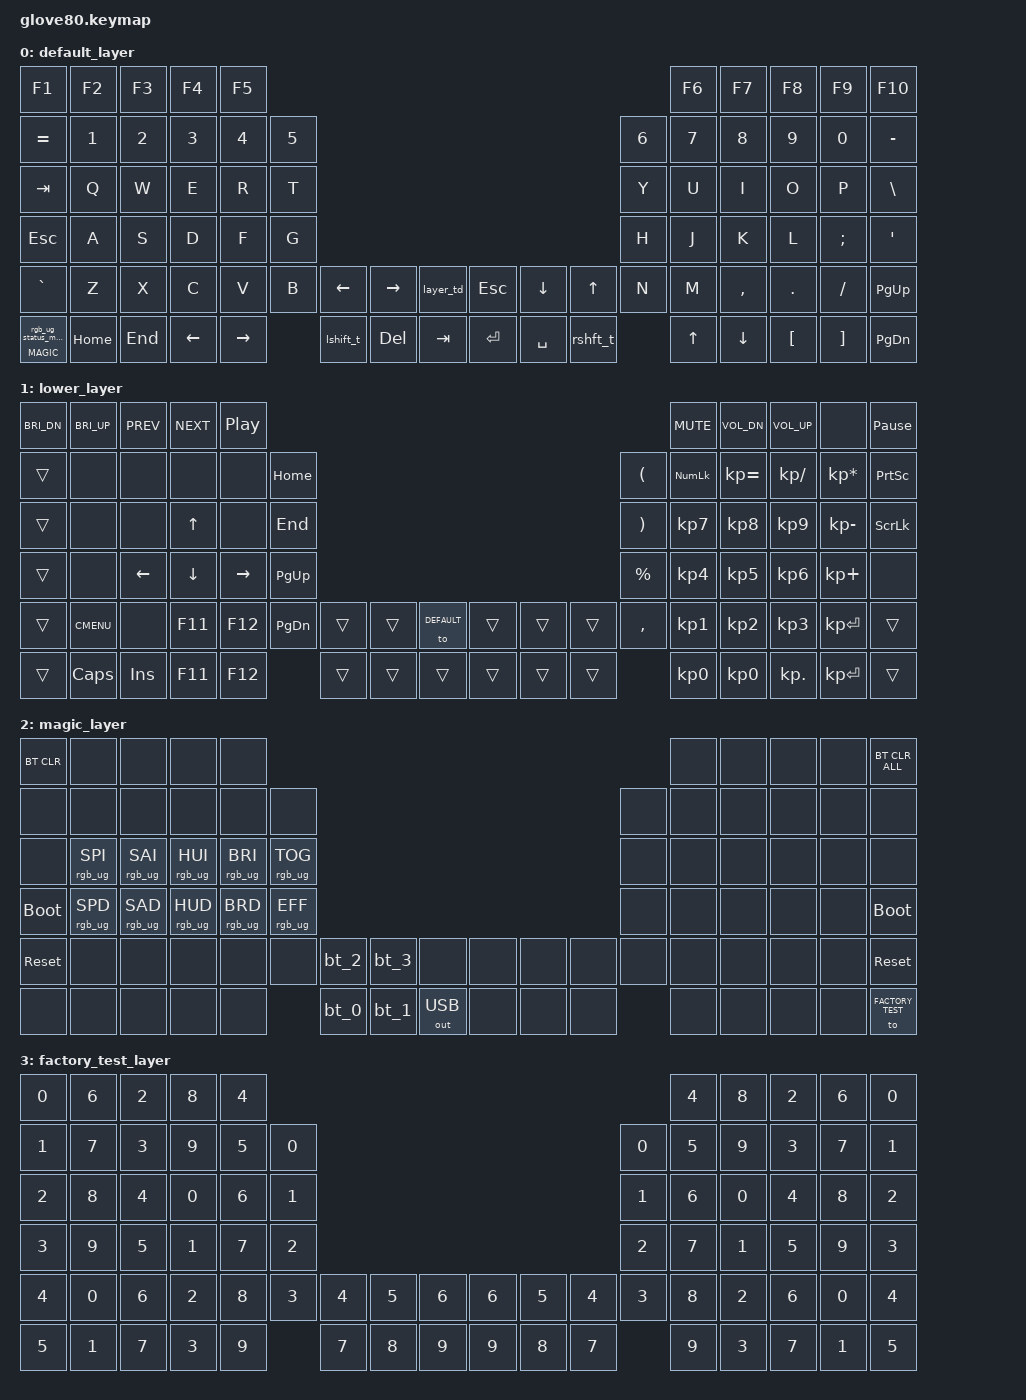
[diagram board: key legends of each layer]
/*
 * Copyright (c) 2020 The ZMK Contributors
 *
 * SPDX-License-Identifier: MIT
 */

 #define HOST_OS 2  // set to 2 for macOS/Windows-Alt-Codes, default is 0 (Windows)
#include "zmk-helpers/helper.h"
#include <behaviors.dtsi>
#include <dt-bindings/zmk/keys.h>
#include <dt-bindings/zmk/bt.h>
#include <dt-bindings/zmk/ext_power.h>
#include <dt-bindings/zmk/outputs.h>
#include <dt-bindings/zmk/rgb.h>
#include "zmk-helpers/key-labels/glove80.h"

#define HYPER LC(LS(LG(LALT)))

// layers
#define DEFAULT 0
#define LOWER 1
#define MAGIC 2
#define FACTORY_TEST 3
/*                               GLOVE80 KEY MATRIX / LAYOUT MAPPING
 ╭────────────────────╮       ╭────────────────────╮ ╭────────────────────╮       ╭────────────────────╮
 │  0   1   2   3   4 ╰───┬───╯  5   6   7   8   9 │ │ LC5 LC4 LC3 LC2 LC1╰───┬───╯ RC1 RC2 RC3 RC4 RC5│
 │ 10  11  12  13  14  15 │ 16  17  18  19  20  21 │ │ LN5 LN4 LN3 LN2 LN1 LN0│ RN0 RN1 RN2 RN3 RN4 RN5│
 │ 22  23  24  25  26  27 │ 28  29  30  31  32  33 │ │ LT5 LT4 LT3 LT2 LT1 LT0│ RT0 RT1 RT2 RT3 RT4 RT5│
 │ 34  35  36  37  38  39 │ 40  41  42  43  44  45 │ │ LM5 LM4 LM3 LM2 LM1 LM0│ RM0 RM1 RM2 RM3 RM4 RM5│
 │ 46  47  48  49  50  51 │ 58  59  60  61  62  63 │ │ LB5 LB4 LB3 LB2 LB1 LB0│ RB0 RB1 RB2 RB3 RB4 RB5│
 │ 64  65  66  67  68 ╭───┴───╮ 75  76  77  78  79 │ │ LF5 LF4 LF3 LF2 LF1╭───┴───╮ RF1 RF2 RF3 RF4 RF5│
 ╰───────────┬────────┴───┬───┴────────┬───────────╯ ╰───────────┬────────┴───┬───┴────────┬───────────╯
             │ 52  53  54 │ 55  56  57 │                         │ LH5 LH4 LH3│ RH3 RH4 RH5│
             │ 69  70  71 │ 72  73  74 │                         │ LH2 LH1 LH0│ RH0 RH1 RH2│
             ╰────────────┴────────────╯                         ╰────────────┴────────────╯
 */

#define THUMB_L LH5 
#define THUMB_R RH2

//ZMK_BEHAVIOR(hrm, hold_tap,
//    flavor = "balanced";
//    tapping-term-ms = <280>;
//    quick-tap-ms = <125>;
//    bindings = <&kp>, <&kp>;
//)
//
//ZMK_BEHAVIOR(ss_paren_l, tap_dance,
//    tapping-term-ms = <200>;
//    bindings = <&sk LSHFT>, <&LPAR>)
//
//ZMK_BEHAVIOR(ss_paren_r, tap_dance,
//    tapping-term-ms = <200>;
//    bindings = <&sk RSHFT>, <&LPAR>)
 {
    behaviors {
        // For the "layer" key, it'd nice to be able to use it as either a shift or a toggle.
        // Configure it as a tap dance, so the first tap (or hold) is a &mo and the second tap is a &to
        layer_td: tap_dance_0 {
            compatible = "zmk,behavior-tap-dance";
            label = "LAYER_TAP_DANCE";
            #binding-cells = <0>;
            tapping-term-ms = <200>;
            bindings = <&mo LOWER>, <&to LOWER>;
        };

        lshft_t: tap_dance_1 {
            compatible = "zmk,behavior-tap-dance";
            label = "LSHFT_TAP_DANCE";
            #binding-cells = <0>;
            tapping-term-ms = <200>;
            bindings = <&sk LSHFT>, <&kp LPAR>;
        };

        rshft_t: tap_dance_2 {
            compatible = "zmk,behavior-tap-dance";
            label = "RSHFT_TAP_DANCE";
            #binding-cells = <0>;
            tapping-term-ms = <200>;
            bindings = <&sk RSHFT>, <&kp RPAR>;
        };

        magic: magic_hold_tap {
            compatible = "zmk,behavior-hold-tap";
            label = "MAGIC_HOLD_TAP";
            #binding-cells = <2>;
            flavor = "tap-preferred";
            tapping-term-ms = <200>;
            bindings = <&mo>, <&rgb_ug_status_macro>;
        };
        ctrl_z: hold_tap_0 {
    compatible = "zmk,behavior-hold-tap";
    #binding-cells = <2>;
    flavor = "tap-preferred";
    tapping-term-ms = <200>;
    quick-tap-ms = <200>;
    //hold-while-undecided = true;
    //require-prior-idle-ms = <125>;
    bindings = <&kp Z>, <&sk LCTRL>;
};
        alt_x: hold_tap_1 {
    compatible = "zmk,behavior-hold-tap";
    #binding-cells = <2>;
    flavor = "tap-preferred";
    tapping-term-ms = <200>;
    quick-tap-ms = <200>;
    //hold-while-undecided = true;
    //require-prior-idle-ms = <125>;
    bindings = <&kp X>, <&sk LGUI>;
};
        ctrl_o: hold_tap_2 {
    compatible = "zmk,behavior-hold-tap";
    #binding-cells = <2>;
    flavor = "tap-preferred";
    tapping-term-ms = <200>;
    quick-tap-ms = <200>;
    //hold-while-undecided = true;
    //require-prior-idle-ms = <125>;
    bindings = <&kp O>, <&sk LCTRL>;
};
    };

    macros {
        rgb_ug_status_macro: rgb_ug_status_macro_0 {
            label = "RGB_UG_STATUS";
            compatible = "zmk,behavior-macro";
            #binding-cells = <0>;
            bindings
                = <&rgb_ug RGB_STATUS>;
        };

        bt_0: bt_profile_macro_0 {
            label = "BT_0";
            compatible = "zmk,behavior-macro";
            #binding-cells = <0>;
            bindings
                = <&out OUT_BLE>,
                  <&bt BT_SEL 0>;
        };

        bt_1: bt_profile_macro_1 {
            label = "BT_1";
            compatible = "zmk,behavior-macro";
            #binding-cells = <0>;
            bindings
                = <&out OUT_BLE>,
                  <&bt BT_SEL 1>;
        };

        bt_2: bt_profile_macro_2 {
            label = "BT_2";
            compatible = "zmk,behavior-macro";
            #binding-cells = <0>;
            bindings
                = <&out OUT_BLE>,
                  <&bt BT_SEL 2>;
        };

        bt_3: bt_profile_macro_3 {
            label = "BT_3";
            compatible = "zmk,behavior-macro";
            #binding-cells = <0>;
            bindings
                = <&out OUT_BLE>,
                  <&bt BT_SEL 3>;
        };
    };

    keymap {
        compatible = "zmk,keymap";

        default_layer {
            // ---------------------------------------------------------------------------------------------------------------------------------
            // |  F1   |  F2 |  F3 |  F4  |  F5  |                                                               |  F6   |  F7   |  F8  |   F9  |  F10 |
            // |  =    |  1  |  2  |  3   |  4   |  5   |                                                 |  6   |   7   |   8   |  9   |   0   |   -  |
            // |  TAB  |  Q  |  W  |  E   |  R   |  T   |                                                 |  Y   |   U   |   I   |  O   |   P   |   \  |
            // |  ESC  |  A  |  S  |  D   |  F   |  G   |                                                 |  H   |   J   |   K   |  L   |   ;   |   '  |
            // |   `   |  Z  |  X  |  C   |  V   |  B   | LSHFT | LCTRL | LOWER | | LGUI  | RCTRL | RSHFT |  N   |   M   |   ,   |  .   |   /   | PGUP |
            // | MAGIC | HOME| END | LEFT | RIGHT|      | BSPC  | DEL   | LALT  | | RALT  | RET   | SPACE |      |  UP   | DOWN  |  [   |   ]   | PGDN |

            bindings = <
            &kp F1         &kp F2   &kp F3      &kp F4      &kp F5                                                                                         &kp F6  &kp F7      &kp F8      &kp F9      &kp F10
            &kp EQUAL      &kp N1   &kp N2      &kp N3      &kp N4      &kp N5                                                                     &kp N6  &kp N7  &kp N8      &kp N9      &kp N0      &kp MINUS
            &kp TAB        &kp Q    &kp W       &kp E       &kp R       &kp T                                                                      &kp Y   &kp U   &kp I       &kp O       &kp P       &kp BSLH
            &kp ESC        &kp A    &kp S       &kp D       &kp F       &kp G                                                                      &kp H   &kp J   &kp K       &kp L       &kp SEMI    &kp SQT
            &kp GRAVE      &kp Z    &kp X       &kp C       &kp V       &kp B   &kp LEFT   &kp RIGHT   &layer_td  &kp ESC  &kp DOWN &kp UP   &kp N   &kp M   &kp COMMA   &kp DOT     &kp FSLH    &kp PG_UP
            &magic MAGIC 0 &kp HOME &kp END     &kp LEFT    &kp RIGHT           &lshift_t     &kp DEL     &kp TAB   &kp RET  &kp SPACE   &rshft_t           &kp UP  &kp DOWN    &kp LBKT    &kp RBKT    &kp PG_DN
            >;
        };

        lower_layer {
            bindings = <
            &kp C_BRI_DN      &kp C_BRI_UP        &kp C_PREV      &kp C_NEXT      &kp C_PP                                                                                                           &kp C_MUTE   &kp C_VOL_DN &kp C_VOL_UP  &none           &kp PAUSE_BREAK
            &trans            &none               &none           &none           &none           &kp HOME                                                                              &kp LPAR     &kp KP_NUM   &kp KP_EQUAL &kp KP_DIVIDE &kp KP_MULTIPLY &kp PSCRN
            &trans            &none               &none           &kp UP          &none           &kp END                                                                               &kp RPAR     &kp KP_N7    &kp KP_N8    &kp KP_N9     &kp KP_MINUS    &kp SLCK
            &trans            &none               &kp LEFT        &kp DOWN        &kp RIGHT       &kp PG_UP                                                                             &kp PRCNT    &kp KP_N4    &kp KP_N5    &kp KP_N6     &kp KP_PLUS     &none
            &trans            &kp K_CMENU         &none           &kp F11         &kp F12         &kp PG_DN       &trans      &trans      &to DEFAULT &trans      &trans      &trans    &kp COMMA    &kp KP_N1    &kp KP_N2    &kp KP_N3     &kp KP_ENTER    &trans
            &trans            &kp CAPS            &kp INS         &kp F11         &kp F12                         &trans      &trans      &trans      &trans      &trans      &trans                 &kp KP_N0    &kp KP_N0    &kp KP_DOT    &kp KP_ENTER    &trans
            >;
        };

        magic_layer {
            bindings = <
            &bt BT_CLR        &none               &none           &none           &none                                                                                                           &none      &none      &none      &none      &bt BT_CLR_ALL
            &none             &none               &none           &none           &none           &none                                                                                &none      &none      &none      &none      &none      &none
            &none             &rgb_ug RGB_SPI     &rgb_ug RGB_SAI &rgb_ug RGB_HUI &rgb_ug RGB_BRI &rgb_ug RGB_TOG                                                                      &none      &none      &none      &none      &none      &none
            &bootloader       &rgb_ug RGB_SPD     &rgb_ug RGB_SAD &rgb_ug RGB_HUD &rgb_ug RGB_BRD &rgb_ug RGB_EFF                                                                      &none      &none      &none      &none      &none      &bootloader
            &sys_reset        &none               &none           &none           &none           &none           &bt_2     &bt_3     &none            &none     &none     &none       &none      &none      &none      &none      &none      &sys_reset
            &none             &none               &none           &none           &none                           &bt_0     &bt_1     &out OUT_USB     &none     &none     &none                  &none      &none      &none      &none      &to FACTORY_TEST
            >;
        };

        factory_test_layer {
            bindings = <
            &kp N0   &kp N6   &kp N2   &kp N8   &kp N4                                                                              &kp N4   &kp N8   &kp N2   &kp N6   &kp N0
            &kp N1   &kp N7   &kp N3   &kp N9   &kp N5   &kp N0                                                            &kp N0   &kp N5   &kp N9   &kp N3   &kp N7   &kp N1
            &kp N2   &kp N8   &kp N4   &kp N0   &kp N6   &kp N1                                                            &kp N1   &kp N6   &kp N0   &kp N4   &kp N8   &kp N2
            &kp N3   &kp N9   &kp N5   &kp N1   &kp N7   &kp N2                                                            &kp N2   &kp N7   &kp N1   &kp N5   &kp N9   &kp N3
            &kp N4   &kp N0   &kp N6   &kp N2   &kp N8   &kp N3   &kp N4   &kp N5   &kp N6      &kp N6   &kp N5   &kp N4   &kp N3   &kp N8   &kp N2   &kp N6   &kp N0   &kp N4
            &kp N5   &kp N1   &kp N7   &kp N3   &kp N9            &kp N7   &kp N8   &kp N9      &kp N9   &kp N8   &kp N7            &kp N9   &kp N3   &kp N7   &kp N1   &kp N5
            >;
        };
    };
};
